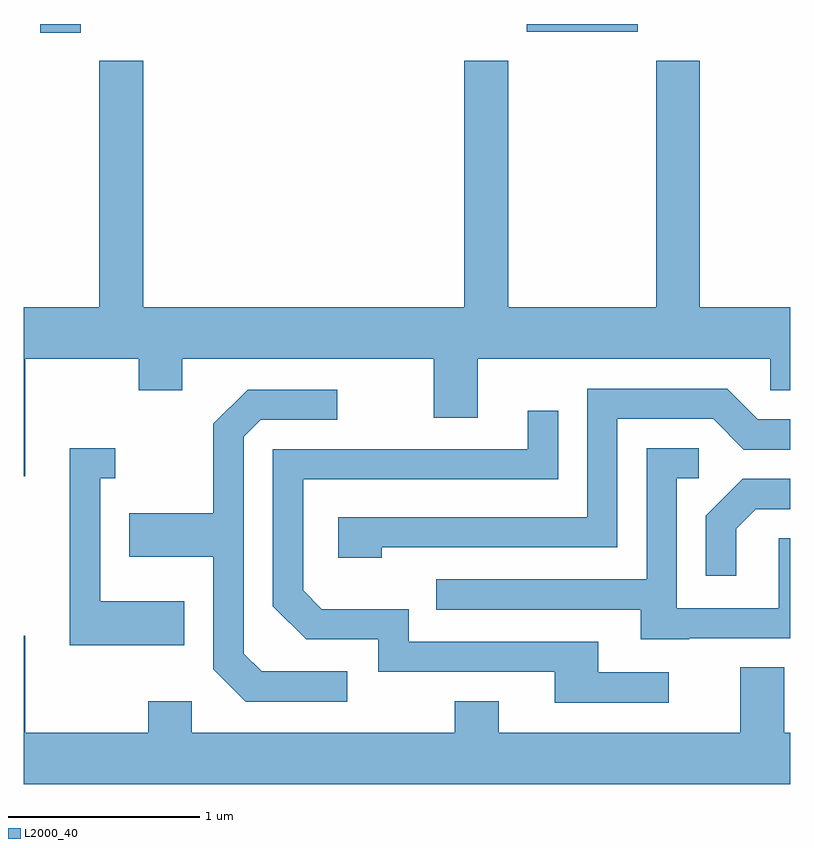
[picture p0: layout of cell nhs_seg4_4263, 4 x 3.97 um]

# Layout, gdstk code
import gdstk
lib = gdstk.Library(unit=1e-6, precision=1e-09)
def R(c, l, rs):  # rectangles x0, y0, x1, y1
    for r in rs: c.add(gdstk.rectangle(r[:2], r[2:], *l))
def P(c, l, *ps):  # polygons
    for p in ps: c.add(gdstk.Polygon(p, *l))
L2000_40 = (2000, 40)

nhs_seg4_4263 = lib.new_cell('nhs_seg4_4263')
R(nhs_seg4_4263, L2000_40, [(309.696,1351.936,309.909,1351.982), (312.236,1351.941,312.814,1351.982)])
P(nhs_seg4_4263, L2000_40, [(309.619,1350.236),(310.211,1350.236),(310.211,1350.071),(310.439,1350.071),(310.439,1350.236),(311.751,1350.236),(311.751,1349.926),(311.979,1349.926),(311.979,1350.236),(313.506,1350.236),(313.506,1350.071),(313.611,1350.071),(313.611,1350.504),(313.139,1350.504),(313.139,1351.789),(312.911,1351.789),(312.911,1350.504),(312.139,1350.504),(312.139,1351.789),(311.911,1351.789),(311.911,1350.504),(310.234,1350.504),(310.234,1351.789),(310.006,1351.789),(310.006,1350.504),(309.611,1350.504),(309.611,1349.621),(309.619,1349.621)],
  [(311.479,1349.251),(312.709,1349.251),(312.709,1349.921),(313.209,1349.921),(313.369,1349.761),(313.611,1349.761),(313.611,1349.919),(313.442,1349.919),(313.282,1350.079),(312.551,1350.079),(312.551,1349.409),(311.251,1349.409),(311.251,1349.196),(311.479,1349.196)],
  [(311.298,1348.604),(310.852,1348.604),(310.759,1348.697),(310.759,1349.829),(310.847,1349.916),(311.248,1349.916),(311.248,1350.074),(310.779,1350.074),(310.601,1349.897),(310.601,1349.429),(310.161,1349.429),(310.161,1349.201),(310.601,1349.201),(310.601,1348.614),(310.769,1348.446),(311.298,1348.446)],
  [(312.978,1348.599),(312.609,1348.599),(312.609,1348.759),(311.619,1348.759),(311.619,1348.929),(311.167,1348.929),(311.069,1349.027),(311.069,1349.606),(312.399,1349.606),(312.399,1349.963),(312.241,1349.963),(312.241,1349.764),(310.911,1349.764),(310.911,1348.944),(311.084,1348.771),(311.461,1348.771),(311.461,1348.601),(312.381,1348.601),(312.381,1348.441),(312.978,1348.441)],
  [(310.449,1348.969),(310.009,1348.969),(310.009,1349.611),(310.088,1349.611),(310.088,1349.769),(309.851,1349.769),(309.851,1348.741),(310.449,1348.741)],
  [(313.085,1348.776),(313.611,1348.776),(313.611,1349.299),(313.551,1349.299),(313.551,1348.934),(313.019,1348.934),(313.019,1349.611),(313.133,1349.611),(313.133,1349.769),(312.861,1349.769),(312.861,1349.084),(311.763,1349.084),(311.763,1348.926),(312.831,1348.926),(312.831,1348.771),(313.085,1348.771)],
  [(313.329,1349.349),(313.432,1349.451),(313.611,1349.451),(313.611,1349.609),(313.364,1349.609),(313.171,1349.417),(313.171,1349.103),(313.329,1349.103)],
  [(313.611,1348.284),(313.579,1348.284),(313.579,1348.624),(313.351,1348.624),(313.351,1348.284),(312.089,1348.284),(312.089,1348.449),(311.861,1348.449),(311.861,1348.284),(310.489,1348.284),(310.489,1348.449),(310.261,1348.449),(310.261,1348.284),(309.619,1348.284),(309.619,1348.789),(309.611,1348.789),(309.611,1348.016),(313.611,1348.016)])

lib.write_gds('nhs_seg4_4263.gds')
